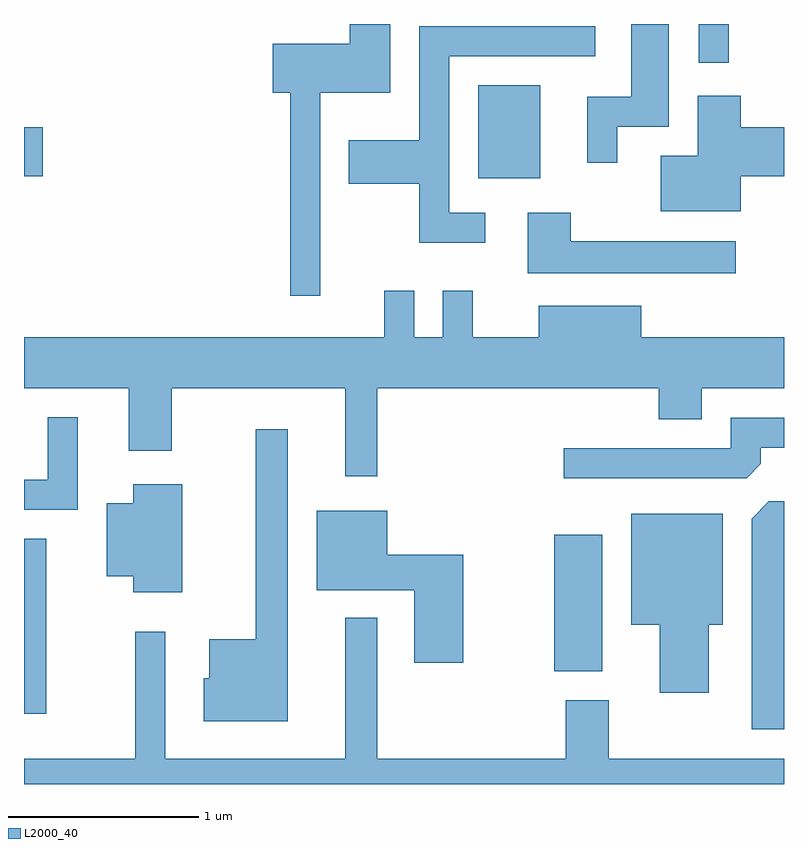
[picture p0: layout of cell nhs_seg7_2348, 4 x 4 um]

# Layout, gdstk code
import gdstk
lib = gdstk.Library(unit=1e-6, precision=1e-09)
def R(c, l, rs):  # rectangles x0, y0, x1, y1
    for r in rs: c.add(gdstk.rectangle(r[:2], r[2:], *l))
def P(c, l, *ps):  # polygons
    for p in ps: c.add(gdstk.Polygon(p, *l))
L2000_40 = (2000, 40)

nhs_seg7_2348 = lib.new_cell('nhs_seg7_2348')
R(nhs_seg7_2348, L2000_40, [(257.611,1692.621,257.729,1693.544), (260.401,1692.846,260.654,1693.564), (260.001,1695.441,260.329,1695.929), (257.611,1695.451,257.709,1695.709), (261.161,1696.048,261.319,1696.252)])
P(nhs_seg7_2348, L2000_40, [(260.734,1695.711),(261.004,1695.711),(261.004,1696.252),(260.806,1696.252),(260.806,1695.869),(260.576,1695.869),(260.576,1695.523),(260.734,1695.523)],
  [(259.169,1695.891),(259.539,1695.891),(259.539,1696.252),(259.326,1696.252),(259.326,1696.149),(258.921,1696.149),(258.921,1695.891),(259.011,1695.891),(259.011,1694.823),(259.169,1694.823)],
  [(260.038,1695.259),(259.849,1695.259),(259.849,1696.081),(260.618,1696.081),(260.618,1696.239),(259.691,1696.239),(259.691,1695.639),(259.321,1695.639),(259.321,1695.411),(259.691,1695.411),(259.691,1695.101),(260.038,1695.101)],
  [(261.384,1695.451),(261.611,1695.451),(261.611,1695.709),(261.384,1695.709),(261.384,1695.874),(261.156,1695.874),(261.156,1695.559),(260.961,1695.559),(260.961,1695.266),(261.384,1695.266)],
  [(261.358,1695.109),(260.489,1695.109),(260.489,1695.259),(260.261,1695.259),(260.261,1694.941),(261.358,1694.941)],
  [(259.469,1694.336),(260.951,1694.336),(260.951,1694.171),(261.179,1694.171),(261.179,1694.336),(261.611,1694.336),(261.611,1694.604),(260.859,1694.604),(260.859,1694.769),(260.321,1694.769),(260.321,1694.604),(259.974,1694.604),(259.974,1694.848),(259.816,1694.848),(259.816,1694.604),(259.664,1694.604),(259.664,1694.848),(259.506,1694.848),(259.506,1694.604),(257.611,1694.604),(257.611,1694.336),(258.161,1694.336),(258.161,1694.006),(258.389,1694.006),(258.389,1694.336),(259.301,1694.336),(259.301,1693.873),(259.469,1693.873)],
  [(257.894,1694.183),(257.736,1694.183),(257.736,1693.854),(257.611,1693.854),(257.611,1693.696),(257.894,1693.696)],
  [(261.489,1693.937),(261.489,1694.021),(261.611,1694.021),(261.611,1694.179),(261.331,1694.179),(261.331,1694.019),(260.453,1694.019),(260.453,1693.861),(261.414,1693.861)],
  [(258.999,1694.118),(258.831,1694.118),(258.831,1693.014),(258.586,1693.014),(258.586,1692.809),(258.556,1692.809),(258.556,1692.581),(258.999,1692.581)],
  [(258.444,1693.829),(258.186,1693.829),(258.186,1693.729),(258.046,1693.729),(258.046,1693.346),(258.186,1693.346),(258.186,1693.261),(258.444,1693.261)],
  [(261.611,1693.739),(261.532,1693.739),(261.441,1693.649),(261.441,1692.541),(261.611,1692.541)],
  [(259.924,1693.459),(259.524,1693.459),(259.524,1693.689),(259.151,1693.689),(259.151,1693.271),(259.666,1693.271),(259.666,1692.891),(259.924,1692.891)],
  [(261.214,1693.091),(261.289,1693.091),(261.289,1693.674),(260.806,1693.674),(260.806,1693.091),(260.956,1693.091),(260.956,1692.731),(261.214,1692.731)],
  [(261.611,1692.384),(260.689,1692.384),(260.689,1692.694),(260.461,1692.694),(260.461,1692.384),(259.469,1692.384),(259.469,1693.128),(259.301,1693.128),(259.301,1692.384),(258.354,1692.384),(258.354,1693.053),(258.196,1693.053),(258.196,1692.384),(257.611,1692.384),(257.611,1692.252),(261.611,1692.252)])

lib.write_gds('nhs_seg7_2348.gds')
